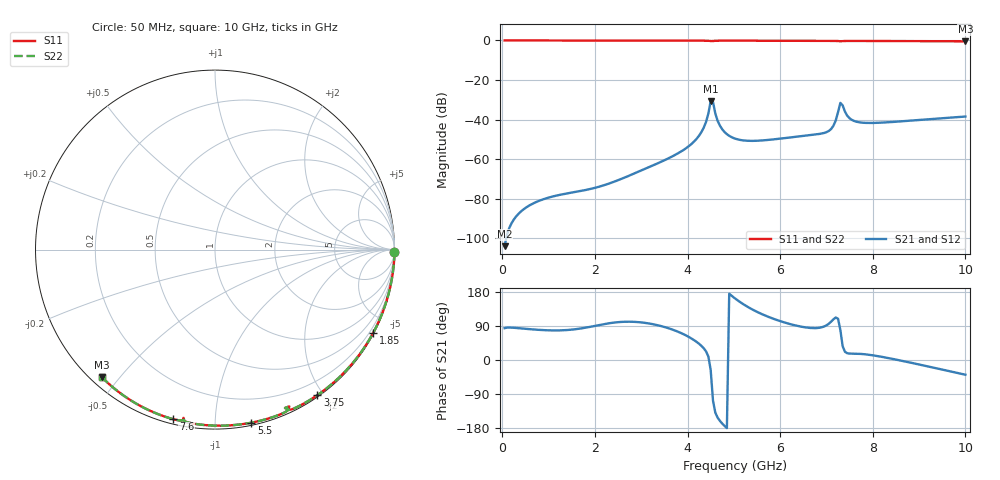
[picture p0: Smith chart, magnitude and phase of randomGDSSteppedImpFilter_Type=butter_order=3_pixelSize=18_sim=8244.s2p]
! freq	dB(S11)	phase(S11)	dB(S12)	phase(S12)
!  dB(S21)	phase(S21)	dB(S22)	phase(S22)
!S-par simulation data
#  GHz  S  DB  R 50
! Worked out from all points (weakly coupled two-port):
!   200 points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, 50 MHz to 10 GHz, reference 50 ohm
!   highest |S21| = -30.61 dB at 4.5 GHz (marker M1); lowest = -103.9 dB at 50 MHz (marker M2)
!   lowest |S11| = -0.4 dB at 10 GHz (marker M3), VSWR 38.97, Z = 1.54 - j22.4 ohm
!   |S11| at or under -10 dB: nowhere
!   |S22| runs from -0.4 to 0.0 dB; largest |S21 - S12| = 0
!   S11 on the Smith chart (normalised r, x): 50 MHz: open; 1.85 GHz: 0.04, -4.05; 3.75 GHz: 0.02, -1.92; 5.5 GHz: 0.02, -1.23; 7.6 GHz: 0.02, -0.78; 10 GHz: 0.03, -0.45
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0.05  -0.00 -0.8  -103.90 84.1  -103.90 84.1  -0.00 -0.8
0.9  -0.02 -13.6  -80.09 78.8  -80.09 78.8  -0.02 -13.6
1.75  -0.03 -26.3  -75.76 84.3  -75.76 84.3  -0.03 -26.3
1.85  -0.04 -27.7  -75.28 86.4  -75.28 86.4  -0.04 -27.7
3.4  -0.07 -50.0  -61.59 90.5  -61.59 90.5  -0.07 -50.0
3.75  -0.07 -54.9  -57.57 76.8  -57.57 76.8  -0.07 -54.9
4.25  -0.09 -61.9  -48.05 42.7  -48.05 42.7  -0.09 -61.9
4.4  -0.11 -64.2  -41.11 22.6  -41.11 22.6  -0.11 -64.2
4.5  -0.31 -66.2  -30.61 -26.3  -30.61 -26.3  -0.31 -66.2
4.55  -0.29 -64.6  -31.08 -107.3  -31.08 -107.3  -0.29 -64.6
4.65  -0.12 -66.5  -40.58 -152.1  -40.58 -152.1  -0.12 -66.5
4.75  -0.11 -68.1  -44.88 -167.8  -44.88 -167.8  -0.11 -68.1
5.05  -0.11 -72.2  -49.74 160.3  -49.74 160.3  -0.11 -72.2
5.5  -0.13 -78.1  -50.66 127.1  -50.66 127.1  -0.13 -78.1
6.7  -0.18 -93.3  -47.69 84.2  -47.69 84.2  -0.18 -93.3
7.1  -0.21 -98.3  -44.74 101.1  -44.74 101.1  -0.21 -98.3
7.2  -0.24 -99.7  -40.43 112.1  -40.43 112.1  -0.24 -99.7
7.3  -0.42 -100.6  -31.53 79.3  -31.53 79.3  -0.41 -100.6
7.45  -0.24 -101.8  -38.05 17.8  -38.05 17.8  -0.24 -101.8
7.6  -0.24 -103.8  -40.68 16.8  -40.68 16.8  -0.24 -103.8
8.35  -0.29 -112.7  -41.29 4.8  -41.29 4.8  -0.29 -112.7
10  -0.45 -131.6  -38.44 -38.8  -38.44 -38.8  -0.45 -131.6
